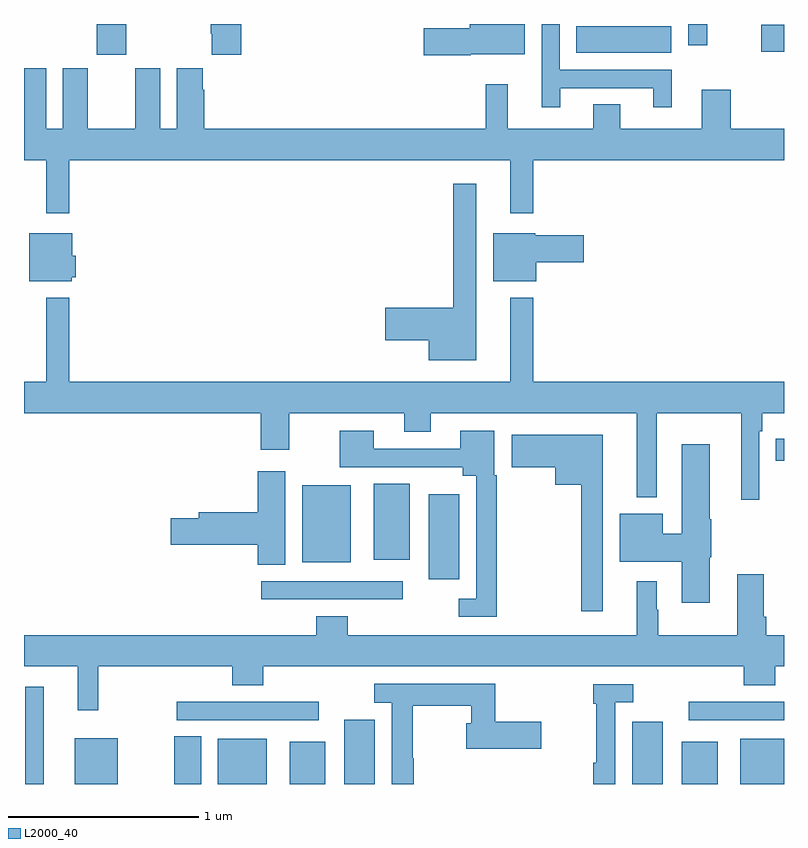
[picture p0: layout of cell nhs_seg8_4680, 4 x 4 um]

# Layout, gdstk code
import gdstk
lib = gdstk.Library(unit=1e-6, precision=1e-09)
def R(c, l, rs):  # rectangles x0, y0, x1, y1
    for r in rs: c.add(gdstk.rectangle(r[:2], r[2:], *l))
def P(c, l, *ps):  # polygons
    for p in ps: c.add(gdstk.Polygon(p, *l))
L2000_40 = (2000, 40)

nhs_seg8_4680 = lib.new_cell('nhs_seg8_4680')
R(nhs_seg8_4680, L2000_40, [(395.007,1095.9,395.104,1096.411), (395.267,1095.9,395.494,1096.141), (395.791,1095.9,395.932,1096.151), (396.02,1095.9,396.277,1096.138), (396.398,1095.9,396.586,1096.123), (396.686,1095.9,396.847,1096.237), (398.201,1095.9,398.362,1096.228), (398.462,1095.9,398.65,1096.123), (398.771,1095.9,399,1096.138), (395.805,1096.236,396.55,1096.332), (398.499,1096.236,399,1096.332), (396.249,1096.872,396.994,1096.968), (397.13,1096.977,397.291,1097.425), (396.464,1097.066,396.721,1097.473), (396.842,1097.081,397.03,1097.479), (398.956,1097.602,399,1097.718), (395.383,1099.737,395.538,1099.9), (397.906,1099.748,398.407,1099.888), (398.88,1099.753,399,1099.895), (398.496,1099.788,398.597,1099.9)])
P(nhs_seg8_4680, L2000_40, [(396.143,1099.9),(395.983,1099.9),(395.983,1099.849),(395.987,1099.849),(395.987,1099.737),(396.143,1099.737)],
  [(397.35,1099.742),(397.635,1099.742),(397.635,1099.9),(397.346,1099.9),(397.346,1099.877),(397.104,1099.877),(397.104,1099.735),(397.35,1099.735)],
  [(397.822,1099.563),(398.312,1099.563),(398.312,1099.461),(398.41,1099.461),(398.41,1099.659),(397.821,1099.659),(397.821,1099.9),(397.725,1099.9),(397.725,1099.461),(397.822,1099.461)],
  [(395.239,1099.184),(397.559,1099.184),(397.559,1098.903),(397.681,1098.903),(397.681,1099.184),(399,1099.184),(399,1099.348),(398.72,1099.348),(398.72,1099.555),(398.567,1099.555),(398.567,1099.348),(398.137,1099.348),(398.137,1099.478),(397.997,1099.478),(397.997,1099.348),(397.547,1099.348),(397.547,1099.582),(397.429,1099.582),(397.429,1099.348),(395.948,1099.348),(395.948,1099.553),(395.941,1099.553),(395.941,1099.666),(395.804,1099.666),(395.804,1099.348),(395.716,1099.348),(395.716,1099.666),(395.585,1099.666),(395.585,1099.348),(395.335,1099.348),(395.335,1099.666),(395.204,1099.666),(395.204,1099.348),(395.116,1099.348),(395.116,1099.666),(395,1099.666),(395,1099.184),(395.117,1099.184),(395.117,1098.903),(395.239,1098.903)],
  [(397.381,1099.06),(397.26,1099.06),(397.26,1098.407),(396.9,1098.407),(396.9,1098.236),(397.13,1098.236),(397.13,1098.131),(397.381,1098.131)],
  [(397.696,1098.647),(397.945,1098.647),(397.945,1098.789),(397.692,1098.789),(397.692,1098.799),(397.469,1098.799),(397.469,1098.545),(397.696,1098.545)],
  [(395.25,1098.567),(395.272,1098.567),(395.272,1098.681),(395.254,1098.681),(395.254,1098.799),(395.027,1098.799),(395.027,1098.545),(395.25,1098.545)],
  [(396.245,1097.658),(396.397,1097.658),(396.397,1097.852),(397.001,1097.852),(397.001,1097.753),(397.141,1097.753),(397.141,1097.852),(398.225,1097.852),(398.225,1097.408),(398.329,1097.408),(398.329,1097.852),(398.774,1097.852),(398.774,1097.397),(398.871,1097.397),(398.871,1097.756),(398.885,1097.756),(398.885,1097.852),(399,1097.852),(399,1098.016),(397.681,1098.016),(397.681,1098.46),(397.559,1098.46),(397.559,1098.016),(395.239,1098.016),(395.239,1098.46),(395.117,1098.46),(395.117,1098.016),(395,1098.016),(395,1097.852),(396.245,1097.852)],
  [(397.489,1097.526),(397.476,1097.526),(397.476,1097.758),(397.295,1097.758),(397.295,1097.664),(396.841,1097.664),(396.841,1097.758),(396.662,1097.758),(396.662,1097.568),(397.31,1097.568),(397.31,1097.522),(397.38,1097.522),(397.38,1096.875),(397.287,1096.875),(397.287,1096.779),(397.489,1096.779)],
  [(398.047,1097.737),(397.566,1097.737),(397.566,1097.567),(397.796,1097.567),(397.796,1097.474),(397.933,1097.474),(397.933,1096.809),(398.047,1096.809)],
  [(398.608,1097.093),(398.616,1097.093),(398.616,1097.293),(398.608,1097.293),(398.608,1097.689),(398.462,1097.689),(398.462,1097.216),(398.362,1097.216),(398.362,1097.323),(398.135,1097.323),(398.135,1097.069),(398.462,1097.069),(398.462,1096.854),(398.608,1096.854)],
  [(396.376,1097.545),(396.23,1097.545),(396.23,1097.33),(395.921,1097.33),(395.921,1097.3),(395.772,1097.3),(395.772,1097.158),(396.23,1097.158),(396.23,1097.053),(396.376,1097.053)],
  [(395.392,1096.52),(396.095,1096.52),(396.095,1096.421),(396.26,1096.421),(396.26,1096.52),(398.789,1096.52),(398.789,1096.421),(398.954,1096.421),(398.954,1096.52),(399,1096.52),(399,1096.684),(398.906,1096.684),(398.906,1096.78),(398.893,1096.78),(398.893,1097.005),(398.753,1097.005),(398.753,1096.684),(398.339,1096.684),(398.339,1096.817),(398.329,1096.817),(398.329,1096.966),(398.225,1096.966),(398.225,1096.684),(396.704,1096.684),(396.704,1096.783),(396.539,1096.783),(396.539,1096.684),(395,1096.684),(395,1096.52),(395.282,1096.52),(395.282,1096.287),(395.392,1096.287)],
  [(397.052,1096.035),(397.045,1096.035),(397.045,1096.312),(397.353,1096.312),(397.353,1096.219),(397.327,1096.219),(397.327,1096.085),(397.723,1096.085),(397.723,1096.227),(397.481,1096.227),(397.481,1096.428),(396.843,1096.428),(396.843,1096.328),(396.936,1096.328),(396.936,1095.9),(397.052,1095.9)],
  [(398.112,1096.329),(398.206,1096.329),(398.206,1096.425),(397.996,1096.425),(397.996,1096.322),(398.011,1096.322),(398.011,1096.013),(397.996,1096.013),(397.996,1095.9),(398.112,1095.9)])

lib.write_gds('nhs_seg8_4680.gds')
